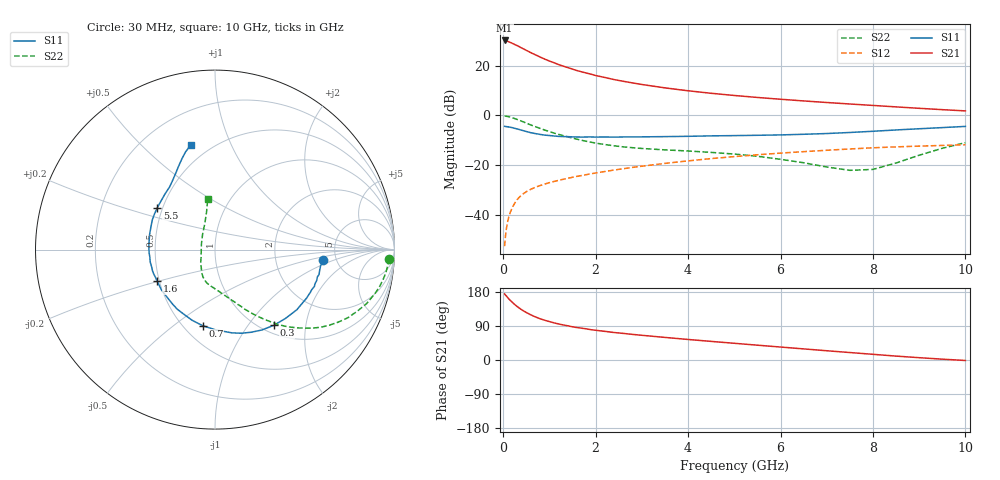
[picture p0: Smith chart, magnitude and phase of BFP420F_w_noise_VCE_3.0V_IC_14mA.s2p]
! Infineon Technologies  Discrete & RF Semiconductors
! BFP420F
! VCE =  3.0 V,  IC =  14 mA
! Common Emitter S-Parameters:  Sep 2011
# GHz  S  MA  R  50
!  f  S11  S21  S12  S22
! GHz  MAG  ANG  MAG  ANG  MAG  ANG  MAG  ANG
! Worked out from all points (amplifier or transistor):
!   54 points, 30 MHz to 10 GHz, reference 50 ohm
!   highest |S21| = 30.3 dB at 30 MHz (marker M1)
!   |S21| within 3 dB of that: start of sweep to 395.8 MHz
!   unconditionally stable (mu >= 1): 1.9 GHz to end of sweep
!   at 120 MHz: K = 0.21, MSG = 35.3 dB, |S12| = -40.9 dB
!   at 1.3 GHz: K = 0.83, MSG = 22.8 dB, |S12| = -25.8 dB
!   at 10 GHz: K = 1.26, MAG = 3.8 dB, |S12| = -11.8 dB
!   lowest NFmin = 1.34 dB at 450 MHz
!   S11 on the Smith chart (normalised r, x): 30 MHz: 3.89, -0.72; 300 MHz: 1.13, -1.34; 700 MHz: 0.62, -0.64; 1.6 GHz: 0.49, -0.20; 5.5 GHz: 0.47, +0.26; 10 GHz: 0.39, +0.72
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0.03  0.6029 -5.6  32.58 174.3  0.0023 83.2  0.9683 -3.0
0.05  0.5952 -8.7  32.08 171.0  0.0038 81.6  0.9664 -5.1
0.07  0.5961 -13.4  31.95 168.6  0.0053 83.0  0.9615 -7.3
0.1  0.5885 -19.0  31.3 164.1  0.0075 81.2  0.9503 -10.3
0.15  0.5778 -27.7  29.8 157.5  0.0109 78.4  0.9259 -15.1
0.25  0.5486 -44.5  26.95 146.3  0.017 72.8  0.863 -23.5
0.3  0.534 -52.2  25.7 141.3  0.0199 70.6  0.8315 -27.2
0.4  0.5028 -66.3  22.95 132.6  0.0247 66.6  0.7635 -33.5
0.5  0.4734 -78.5  20.56 125.3  0.0289 63.7  0.6995 -38.7
0.6  0.4472 -89.6  18.42 119.0  0.0324 61.5  0.6405 -43.0
0.7  0.4293 -99.3  16.67 113.5  0.0357 60.0  0.5913 -46.7
0.9  0.4002 -115.4  13.68 104.8  0.0413 58.3  0.5059 -52.5
1.1  0.3842 -128.4  11.54 98.0  0.0465 57.5  0.4402 -57.4
1.3  0.3742 -138.9  9.865 92.5  0.0515 57.2  0.3902 -61.6
1.6  0.3674 -151.5  8.014 85.6  0.059 56.9  0.3311 -67.4
1.7  0.3658 -155.1  7.567 83.9  0.0614 56.8  0.3145 -69.1
2.4  0.3654 -173.5  5.29 72.5  0.0791 55.9  0.2441 -81.9
3.5  0.3737 167.5  3.597 59.6  0.1077 52.9  0.2018 -97.9
5.5  0.3974 144.0  2.305 39.1  0.1608 43.1  0.1499 -119.3
7  0.4312 125.9  1.823 24.4  0.1981 34.2  0.091 -148.9
8.5  0.5093 113.3  1.487 10.3  0.232 24.1  0.1096 129.1
10  0.6003 102.9  1.234 -1.3  0.2557 15.1  0.2821 98.3
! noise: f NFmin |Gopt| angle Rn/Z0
0.45  1.34  0.08  173  0.11
0.9  1.34  0.09  161  0.13
1.9  1.47  0.19  177  0.19
2.4  1.53  0.19  -180  0.12
3.5  1.78  0.24  -164  0.17
